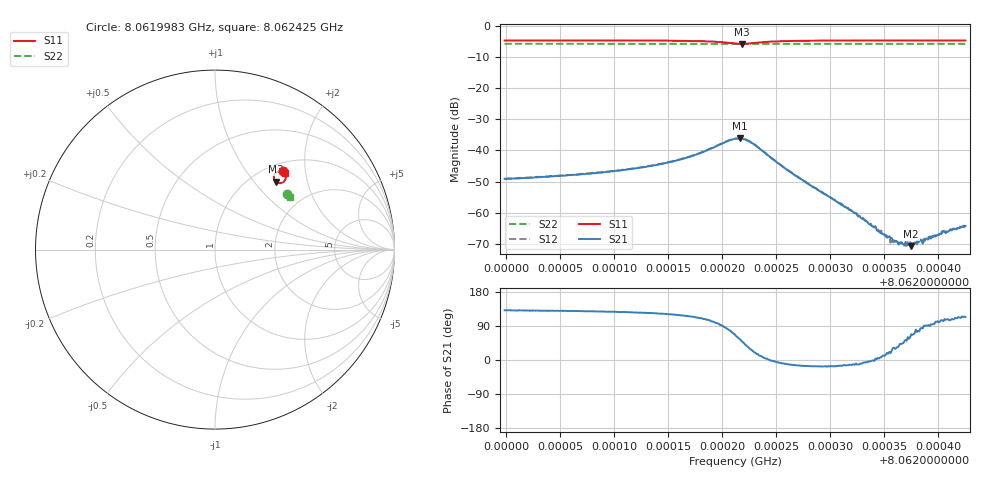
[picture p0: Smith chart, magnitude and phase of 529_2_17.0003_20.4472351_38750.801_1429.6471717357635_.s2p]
#  HZ  S  RI  R  50.00
! Rohde & Schwarz Vector Network Analyzer
! Rohde-Schwarz,ZNB20-2Port,1311601062101988,3.16
! Created: UTC 3/20/2024, 11:15:49 PM
! freq[Hz]  re:S11  im:S11  re:S21  im:S21  re:S12  im:S12  re:S22  im:S22
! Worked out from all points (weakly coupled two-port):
!   401 points, 8.0619983 GHz to 8.062425 GHz, reference 50 ohm
!   highest |S21| = -36.09 dB at 8.0622159 GHz (marker M1); lowest = -70.7 dB at 8.0623748 GHz (marker M2)
!   lowest |S11| = -5.9 dB at 8.0622181 GHz (marker M3), VSWR 3.07, Z = 63.9 + j65.2 ohm
!   |S11| at or under -10 dB: nowhere
!   |S22| runs from -5.9 to -5.9 dB; largest |S21 - S12| = 0.0011
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8.06199834e9  0.3767 0.4358  -0.00231 0.00264  -0.00216 0.00279  0.4029 0.3114
8.0620698e9  0.3828 0.4299  -0.00261 0.00324  -0.00243 0.00344  0.4052 0.3078
8.06214126e9  0.3904 0.419  -0.00321 0.00504  -0.00294 0.00527  0.4081 0.3038
8.0621722e9  0.394 0.4066  -0.00337 0.00746  -0.0029 0.00771  0.4091 0.3018
8.06221166e9  0.3572 0.3699  0.00607 0.0141  0.00699 0.0138  0.4081 0.2987
8.06221593e9  0.3445 0.3744  0.0089 0.0129  0.0097 0.0123  0.4079 0.2988
8.06221806e9  0.3389 0.3785  0.0101 0.0117  0.0107 0.0112  0.4077 0.299
8.06222873e9  0.3282 0.4076  0.0117 0.00483  0.012 0.00421  0.4081 0.2999
8.06225752e9  0.3558 0.4356  0.00516 -0.000897  0.00517 -0.00124  0.4106 0.2995
8.06228312e9  0.3691 0.4353  0.00252 -0.00075  0.00254 -0.000937  0.4121 0.2981
8.06232259e9  0.3785 0.4317  0.000964 -0.000215  0.000978 -0.000261  0.4136 0.296
8.06234498e9  0.3818 0.4299  0.000507 3.56e-05  0.000513 4.78e-06  0.4147 0.2946
8.06235458e9  0.383 0.4291  0.000393 0.000154  0.000406 0.000107  0.4149 0.2941
8.06236205e9  0.384 0.4286  0.000286 0.000194  0.000271 0.000152  0.4152 0.2938
8.06236845e9  0.3847 0.428  0.000197 0.000228  0.000215 0.000239  0.4154 0.2934
8.06237485e9  0.3853 0.4276  0.00011 0.000272  0.000118 0.00031  0.4157 0.2931
8.06238232e9  0.3862 0.4269  8.67e-05 0.000338  7.29e-05 0.000322  0.4158 0.2928
8.06238765e9  0.3866 0.4266  -1.72e-06 0.000377  -2.05e-06 0.000358  0.4161 0.2924
8.06239405e9  0.3872 0.4261  -2.68e-05 0.000414  -6.71e-06 0.000415  0.4163 0.292
8.06239938e9  0.3878 0.4257  -9.37e-05 0.000433  -5.59e-05 0.000441  0.4166 0.2919
8.06240471e9  0.3882 0.4254  -0.000113 0.0005  -6.23e-05 0.000506  0.4167 0.2914
8.06242498e9  0.3899 0.4242  -0.000249 0.000566  -0.000213 0.000565  0.4174 0.2903
